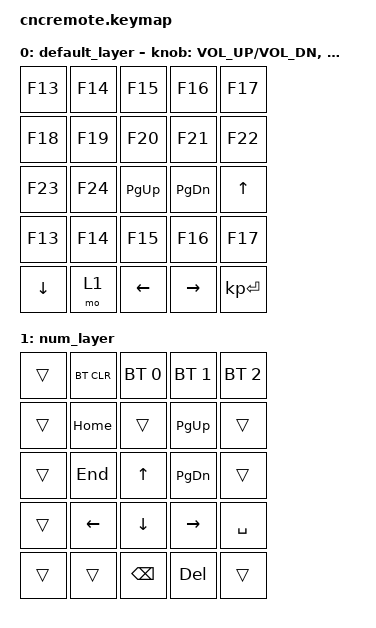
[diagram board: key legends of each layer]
/*
 * Copyright (c) 2022 The ZMK Contributors
 *
 * SPDX-License-Identifier: MIT
 */

#include <behaviors.dtsi>
#include <dt-bindings/zmk/keys.h>
#include <dt-bindings/zmk/bt.h>

/ {
    keymap {
        compatible = "zmk,keymap";

        default_layer {

            bindings = <
    &kp F13          &kp F14         &kp F15         &kp F16         &kp F17
    &kp F18          &kp F19         &kp F20         &kp F21         &kp F22
    &kp F23          &kp F24         &kp PAGE_UP     &kp PAGE_DOWN   &kp UP_ARROW
    &kp F13          &kp F14         &kp F15         &kp F16         &kp F17
    &kp DOWN_ARROW   &mo 1           &kp LEFT_ARROW  &kp RIGHT_ARROW &kp KP_ENTER
            >;

            sensor-bindings = <&inc_dec_kp C_VOL_UP C_VOL_DN &inc_dec_kp PG_UP PG_DN>;
        };

        num_layer {
            bindings = <
    &trans   &bt BT_CLR      &bt BT_SEL 0   &bt BT_SEL 1     &bt BT_SEL 2
    &trans   &kp HOME        &trans         &kp PAGE_UP      &trans
    &trans   &kp END         &kp UP_ARROW   &kp PAGE_DOWN    &trans
    &trans   &kp LEFT_ARROW  &kp DOWN_ARROW &kp RIGHT_ARROW  &kp SPACE
    &trans   &trans          &kp BACKSPACE  &kp DELETE       &trans
            >;

        };
    };
};

